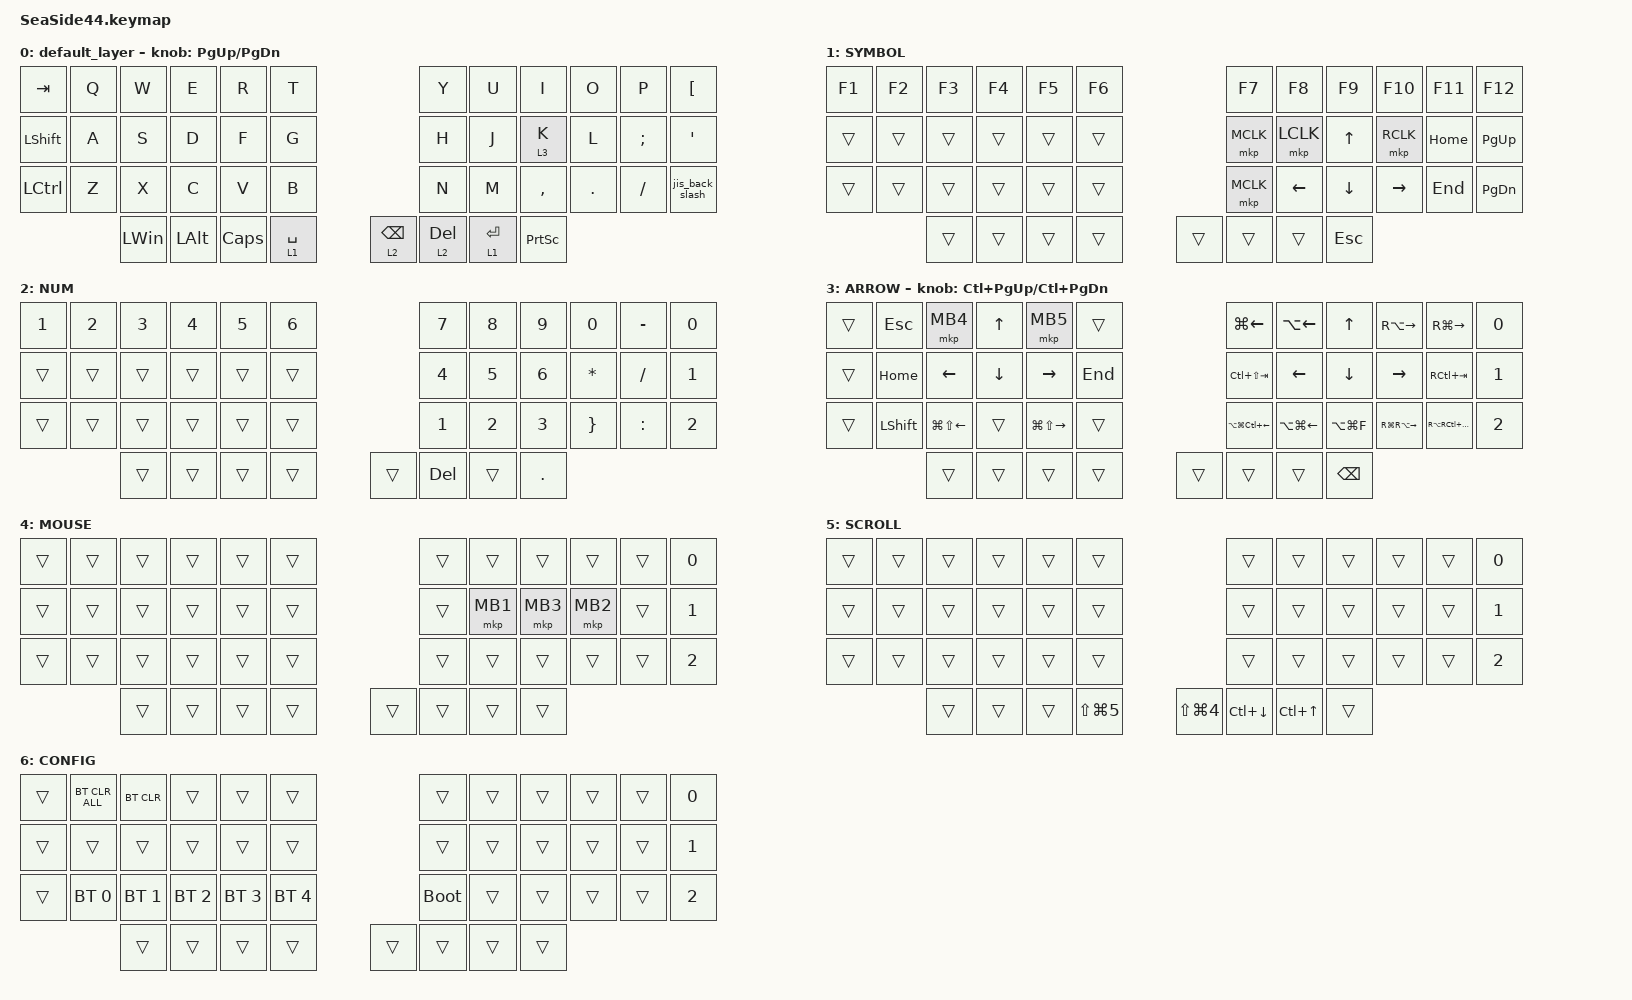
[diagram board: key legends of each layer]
#include <behaviors.dtsi>
#include <dt-bindings/zmk/bt.h>
#include <dt-bindings/zmk/keys.h>
#include <dt-bindings/zmk/pointing.h>

#define MOUSE 4
#define SCROLL 5
#define NUM 6

&mt {
    flavor = "balanced";
    quick-tap-ms = <300>;
};

&lt {
    flavor = "balanced";
    quick-tap-ms = <300>;
};

/ {
    combos { compatible = "zmk,combos"; };

    macros {
        jis_at_sign: to_layer_0 {
            compatible = "zmk,behavior-macro";
            #binding-cells = <0>;
            bindings = <&kp AT_SIGN &kp LS(GRAVE)>;
            label = "TO_LAYER_0";
        };

        jis_hyphen: jis_hyphen {
            compatible = "zmk,behavior-macro";
            #binding-cells = <0>;
            bindings = <&kp MINUS &kp EQUAL>;
            label = "JIS_HYPHEN";
        };

        jis_semicolon: jis_semicolon {
            compatible = "zmk,behavior-macro";
            #binding-cells = <0>;
            bindings = <&kp SEMICOLON &kp PLUS>, <&macro_press>;

            label = "JIS_SEMICOLON";
        };

        jis_colon: jis_colon {
            compatible = "zmk,behavior-macro";
            #binding-cells = <0>;
            bindings = <&kp COLON &kp LS(ASTERISK)>;
            label = "JIS_COLON";
        };

        jis_back_slash: jis_left_bracket {
            compatible = "zmk,behavior-macro";
            #binding-cells = <0>;
            bindings = <&kp BSLH &kp UNDER>;
            label = "JIS_LEFT_BRACKET";
        };
    };

    behaviors {
        lt_to_layer_0: lt_to_layer_0 {
            compatible = "zmk,behavior-hold-tap";
            label = "LAYER_TAP_TO_0";
            bindings = <&mo>, <&jis_at_sign>;

            #binding-cells = <2>;
            tapping-term-ms = <200>;
        };
    };

    keymap {
        compatible = "zmk,keymap";

        default_layer {
            bindings = <
&kp TAB         &kp Q  &kp W         &kp E         &kp R     &kp T                                         &kp Y        &kp U  &kp I            &kp O       &kp P          &kp LEFT_BRACKET
&kp LEFT_SHIFT  &kp A  &kp S         &kp D         &kp F     &kp G                                         &kp H        &kp J  &lt 3 K          &kp L       &kp SEMICOLON  &kp SQT
&kp LCTRL       &kp Z  &kp X         &kp C         &kp V     &kp B                                         &kp N        &kp M  &kp COMMA        &kp PERIOD  &kp SLASH      &jis_back_slash
                       &kp LEFT_WIN  &kp LEFT_ALT  &kp CAPS  &lt 1 SPACE  &lt 2 BACKSPACE    &lt 2 DELETE  &lt 1 ENTER         &kp PRINTSCREEN
            >;

            sensor-bindings = <&inc_dec_kp PG_UP PAGE_DOWN>;
        };

        SYMBOL {
            bindings = <
&kp F1  &kp F2  &kp F3  &kp F4  &kp F5  &kp F6                    &kp F7     &kp F8          &kp F9          &kp F10          &kp F11   &kp F12
&trans  &trans  &trans  &trans  &trans  &trans                    &mkp MCLK  &mkp LCLK       &kp UP_ARROW    &mkp RCLK        &kp HOME  &kp PAGE_UP
&trans  &trans  &trans  &trans  &trans  &trans                    &mkp MCLK  &kp LEFT_ARROW  &kp DOWN_ARROW  &kp RIGHT_ARROW  &kp END   &kp PAGE_DOWN
                &trans  &trans  &trans  &trans  &trans    &trans  &trans                     &kp ESC
            >;
        };

        NUM {
            bindings = <
&kp NUMBER_1  &kp NUMBER_2  &kp NUMBER_3  &kp NUMBER_4  &kp N5  &kp NUMBER_6                        &kp N7        &kp NUMBER_8  &kp NUMBER_9  &kp N0           &kp MINUS  &kp N0
&trans        &trans        &trans        &trans        &trans  &trans                              &kp NUMBER_4  &kp NUMBER_5  &kp NUMBER_6  &kp ASTERISK     &kp SLASH  &kp N1
&trans        &trans        &trans        &trans        &trans  &trans                              &kp NUMBER_1  &kp NUMBER_2  &kp NUMBER_3  &kp RIGHT_BRACE  &kp COLON  &kp N2
                            &trans        &trans        &trans  &trans        &trans    &kp DELETE  &trans                      &kp PERIOD
            >;
        };

        ARROW {
            bindings = <
&trans  &kp ESCAPE      &mkp MB4                &kp UP_ARROW    &mkp MB5                 &trans                     &kp LG(LEFT_ARROW)          &kp LA(LEFT_ARROW)      &kp UP_ARROW    &kp RA(RIGHT_ARROW)      &kp RG(RIGHT_ARROW)          &kp N0
&trans  &kp HOME        &kp LEFT_ARROW          &kp DOWN_ARROW  &kp RIGHT_ARROW          &kp END                    &kp LC(LS(TAB))             &kp LEFT_ARROW          &kp DOWN_ARROW  &kp RIGHT_ARROW          &kp RC(TAB)                  &kp N1
&trans  &kp LEFT_SHIFT  &kp LG(LS(LEFT_ARROW))  &trans          &kp LG(LS(RIGHT_ARROW))  &trans                     &kp LA(LG(LC(LEFT_ARROW)))  &kp LA(LG(LEFT_ARROW))  &kp LA(LG(F))   &kp RG(RA(RIGHT_ARROW))  &kp RA(RC(RG(RIGHT_ARROW)))  &kp N2
                        &trans                  &trans          &trans                   &trans   &trans    &trans  &trans                                              &kp BACKSPACE
            >;

            sensor-bindings = <&inc_dec_kp LC(PAGE_UP) LC(PAGE_DOWN)>;
        };

        MOUSE {
            bindings = <
&trans  &trans  &trans  &trans  &trans  &trans                    &trans  &trans    &trans    &trans    &trans  &kp N0
&trans  &trans  &trans  &trans  &trans  &trans                    &trans  &mkp MB1  &mkp MB3  &mkp MB2  &trans  &kp N1
&trans  &trans  &trans  &trans  &trans  &trans                    &trans  &trans    &trans    &trans    &trans  &kp N2
                &trans  &trans  &trans  &trans  &trans    &trans  &trans            &trans
            >;
        };

        SCROLL {
            bindings = <
&trans  &trans  &trans  &trans  &trans  &trans                                          &trans            &trans  &trans  &trans  &trans  &kp N0
&trans  &trans  &trans  &trans  &trans  &trans                                          &trans            &trans  &trans  &trans  &trans  &kp N1
&trans  &trans  &trans  &trans  &trans  &trans                                          &trans            &trans  &trans  &trans  &trans  &kp N2
                &trans  &trans  &trans  &kp LS(LG(N5))  &kp LS(LG(N4))    &kp LC(DOWN)  &kp LC(UP_ARROW)          &trans
            >;
        };

        CONFIG {
            bindings = <
&trans  &bt BT_CLR_ALL  &bt BT_CLR    &trans        &trans        &trans                          &trans       &trans  &trans  &trans  &trans  &kp N0
&trans  &trans          &trans        &trans        &trans        &trans                          &trans       &trans  &trans  &trans  &trans  &kp N1
&trans  &bt BT_SEL 0    &bt BT_SEL 1  &bt BT_SEL 2  &bt BT_SEL 3  &bt BT_SEL 4                    &bootloader  &trans  &trans  &trans  &trans  &kp N2
                        &trans        &trans        &trans        &trans        &trans    &trans  &trans               &trans
            >;
        };
    };
};
